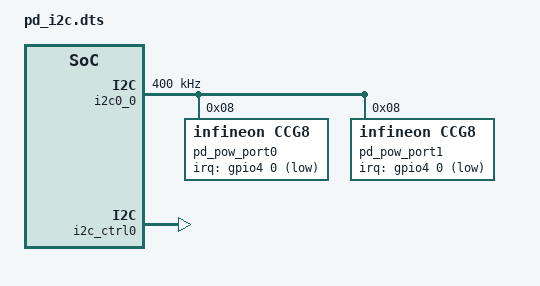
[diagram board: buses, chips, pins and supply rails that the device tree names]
/* Copyright 2024 The ChromiumOS Authors
 * Use of this source code is governed by a BSD-style license that can be
 * found in the LICENSE file.
 */

/ {
	named-i2c-ports {
		ec_pd_power: typec-aic1-power {
			i2c-port = <&i2c0_0>;
			enum-names = "I2C_PORT_TYPEC_AIC_1";
		};
	};
};

/* typec-aic1-power */
&i2c0_0 {
	label = "I2C_PD_POWER";
	status = "okay";
	clock-frequency = <I2C_BITRATE_FAST>;
	pinctrl-0 = <&i2c0_0_sda_scl_gpb4_b5>;
	pinctrl-names = "default";
	pd_pow_port0: ccgP0@08 {
		compatible = "infineon,ccg8";
		reg = <0x08>;
		irq-gpios = <&gpio4 0 GPIO_ACTIVE_LOW>;
	};
	pd_pow_port1: ccgP1@08 {
		compatible = "infineon,ccg8";
		reg = <0x08>;
		irq-gpios = <&gpio4 0 GPIO_ACTIVE_LOW>;
	};
};

&i2c_ctrl0 {
	status = "okay";
};
